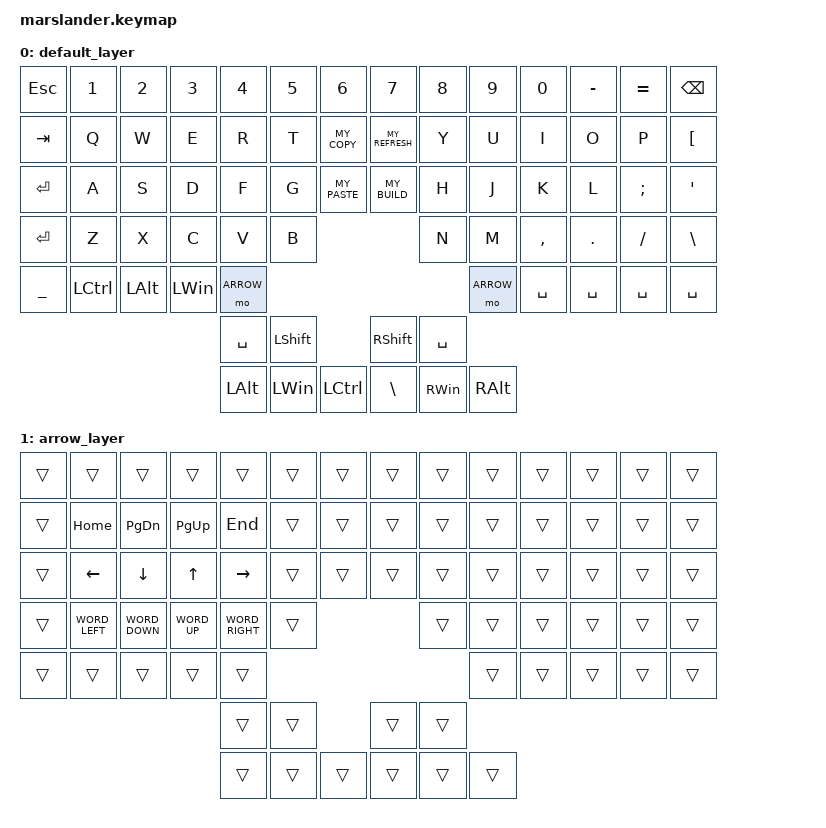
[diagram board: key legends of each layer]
/*
 * Copyright (c) 2020 The ZMK Contributors
 *
 * SPDX-License-Identifier: MIT
 */

#include <behaviors.dtsi>
#include <dt-bindings/zmk/keys.h>
#include <dt-bindings/zmk/bt.h>
// #include "macos/macros.keymap"
#include "platform/macos.keymap"


#define DEF 0
// #define LWR 1
// #define RSE 2
// #define ADJ 38I
#define ARROW 1

&lt { quick_tap_ms = <200>; };
&mt { quick_tap_ms = <200>; };

/ {
    combos {
        compatible = "zmk,combos";

        cb_cut {
            bindings = <&kp MY_CUT>;
            key-positions = <20 34>;
        };
    };

    keymap {
        compatible = "zmk,keymap";

        default_layer {
// -------------------------------------------------------------------------------------------------------
// |  ESC |  &   |  [   |  {   |  }   |  (   |  =   |   |  *   |  )   |  +   |  ]   |  !   |  #   | BSPC |
// |  TAB | SEMI |  ,   |  .   |  P   |  Y   |  _   |   |  _   |  F   |  G   |  C   |  R   |  L   |  /   |
// |  RET |  A   |  O   |  E   |  U   |  I   |  _   |   |  _   |  D   |  H   |  T   |  N   |  S   |  -   |
// | LSHFT|  '   |  Q   |  J   |  K   |  X   |                 |  B   |  M   |  W   |  V   |  Z   |  \   |
// |  FN  | LCTRL| LALT | LWIN | SPACE|                               |  _   |  _   |  _   |  _   |  _   |
// | LWIN | LALT | SPACE| LCTRL| RET  |                               | RSHFT| RET  | SPACE| RALT | RWIN |

            bindings = <
    &kp ESC   &kp N1    &kp N2    &kp N3    &kp N4    &kp N5    &kp N6            &kp N7         &kp N8    &kp N9    &kp N0    &kp MINUS &kp EQUAL &kp BSPC
    &kp TAB   &kp Q     &kp W     &kp E     &kp R     &kp T     &kp MY_COPY       &kp MY_REFRESH &kp Y     &kp U     &kp I     &kp O     &kp P     &kp LBKT
    &kp RET   &kp A     &kp S     &kp D     &kp F     &kp G     &kp MY_PASTE      &kp MY_BUILD   &kp H     &kp J     &kp K     &kp L     &kp SEMI  &kp SQT
    &kp RET   &kp Z     &kp X     &kp C     &kp V     &kp B                                      &kp N     &kp M     &kp COMMA &kp DOT   &kp FSLH  &kp BSLH
    &kp UNDER &kp LCTRL &kp LALT  &kp LWIN  &mo ARROW                                                      &mo ARROW &kp SPACE &kp SPACE &kp SPACE &kp SPACE
                                                &kp SPACE &kp LSHIFT                  &kp RSHIFT &kp SPACE
                                            &kp LALT  &kp LWIN &kp LCTRL          &kp BSLH  &kp RWIN  &kp RALT                
            >;
        };

        arrow_layer {
// -------------------------------------------------------------------------------------------------------
// |  ESC |  &   |  [   |  {   |  }   |  (   |  =   |   |  *   |  )   |  +   |  ]   |  !   |  #   | BSPC |
// |  TAB | SEMI |  ,   |  .   |  P   |  Y   |  _   |   |  _   |  F   |  G   |  C   |  R   |  L   |  /   |
// |  RET |  A   |  O   |  E   |  U   |  I   |  _   |   |  _   |  D   |  H   |  T   |  N   |  S   |  -   |
// | LSHFT|  '   |  Q   |  J   |  K   |  X   |                 |  B   |  M   |  W   |  V   |  Z   |  \   |
// |  FN  | LCTRL| LALT | LWIN | SPACE|                               |  _   |  _   |  _   |  _   |  _   |
// | LWIN | LALT | SPACE| LCTRL| RET  |                               | RSHFT| RET  | SPACE| RALT | RWIN |

            bindings = <
    &trans    &trans        &trans           &trans         &trans          &trans    &trans            &trans    &trans    &trans    &trans    &trans    &trans    &trans       
    &trans    &kp HOME      &kp PAGE_DOWN    &kp PAGE_UP    &kp END         &trans    &trans            &trans    &trans    &trans    &trans    &trans    &trans    &trans       
    &trans    &kp LEFT      &kp DOWN         &kp UP         &kp RIGHT       &trans    &trans            &trans    &trans    &trans    &trans    &trans    &trans    &trans       
    &trans    &kp WORD_LEFT &kp WORD_DOWN    &kp WORD_UP    &kp WORD_RIGHT  &trans                                &trans    &trans    &trans    &trans    &trans    &trans      
    &trans    &trans        &trans           &trans         &trans                                                          &trans    &trans    &trans    &trans    &trans       
                                                        &trans    &trans                      &trans    &trans
                                                    &trans    &trans   &trans             &trans    &trans    &trans                  
            >;
        };

        // copy fully transparent layer from here
//         template_layer {
// // -------------------------------------------------------------------------------------------------------
// // |  ESC |  &   |  [   |  {   |  }   |  (   |  =   |   |  *   |  )   |  +   |  ]   |  !   |  #   | BSPC |
// // |  TAB | SEMI |  ,   |  .   |  P   |  Y   |  _   |   |  _   |  F   |  G   |  C   |  R   |  L   |  /   |
// // |  RET |  A   |  O   |  E   |  U   |  I   |  _   |   |  _   |  D   |  H   |  T   |  N   |  S   |  -   |
// // | LSHFT|  '   |  Q   |  J   |  K   |  X   |                 |  B   |  M   |  W   |  V   |  Z   |  \   |
// // |  FN  | LCTRL| LALT | LWIN | SPACE|                               |  _   |  _   |  _   |  _   |  _   |
// // | LWIN | LALT | SPACE| LCTRL| RET  |                               | RSHFT| RET  | SPACE| RALT | RWIN |

//             bindings = <
//     &trans    &trans    &trans    &trans    &trans    &trans    &trans            &trans    &trans    &trans    &trans    &trans    &trans    &trans       
//     &trans    &trans    &trans    &trans    &trans    &trans    &trans            &trans    &trans    &trans    &trans    &trans    &trans    &trans       
//     &trans    &trans    &trans    &trans    &trans    &trans    &trans            &trans    &trans    &trans    &trans    &trans    &trans    &trans       
//     &trans    &trans    &trans    &trans    &trans    &trans                                &trans    &trans    &trans    &trans    &trans    &trans      
//     &trans    &trans    &trans    &trans    &trans                                                    &trans    &trans    &trans    &trans    &trans       
//                                                 &trans    &trans                      &trans    &trans
//                                             &trans    &trans   &trans             &trans    &trans    &trans                  
//             >;
//         };
    }; 
};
